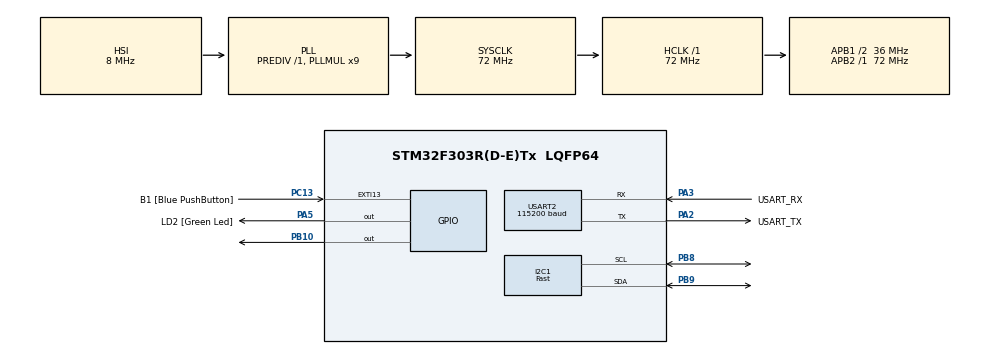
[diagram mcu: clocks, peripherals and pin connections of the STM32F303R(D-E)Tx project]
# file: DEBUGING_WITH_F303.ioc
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Dma.Request0=USART2_RX
Dma.Request1=USART2_TX
Dma.USART2_RX.0.Direction=DMA_PERIPH_TO_MEMORY
Dma.USART2_RX.0.Instance=DMA1_Channel6
Dma.USART2_RX.0.MemDataAlignment=DMA_MDATAALIGN_BYTE
Dma.USART2_RX.0.MemInc=DMA_MINC_ENABLE
Dma.USART2_RX.0.Mode=DMA_NORMAL
Dma.USART2_RX.0.PeriphDataAlignment=DMA_PDATAALIGN_BYTE
Dma.USART2_RX.0.PeriphInc=DMA_PINC_DISABLE
Dma.USART2_RX.0.Priority=DMA_PRIORITY_LOW
Dma.USART2_TX.1.Direction=DMA_MEMORY_TO_PERIPH
Dma.USART2_TX.1.Instance=DMA1_Channel7
Dma.USART2_TX.1.MemDataAlignment=DMA_MDATAALIGN_BYTE
Dma.USART2_TX.1.MemInc=DMA_MINC_ENABLE
Dma.USART2_TX.1.Mode=DMA_NORMAL
Dma.USART2_TX.1.PeriphDataAlignment=DMA_PDATAALIGN_BYTE
Dma.USART2_TX.1.PeriphInc=DMA_PINC_DISABLE
Dma.USART2_TX.1.Priority=DMA_PRIORITY_MEDIUM
I2C1.I2C_Speed_Mode=I2C_Fast
I2C1.Timing=0x0010020A
Mcu.Family=STM32F3
Mcu.Name=STM32F303R(D-E)Tx
Mcu.Package=LQFP64
NVIC.DMA1_Channel6_IRQn=true\:0\:0\:false\:false\:true\:false\:true\:true
NVIC.DMA1_Channel7_IRQn=true\:0\:0\:false\:false\:true\:false\:true\:true
NVIC.PriorityGroup=NVIC_PRIORITYGROUP_0
NVIC.USART2_IRQn=true\:0\:0\:false\:false\:true\:true\:true\:true
PA13.GPIO_Label=TMS
PA13.Mode=Serial_Wire
PA13.Signal=SYS_JTMS-SWDIO
PA14.GPIO_Label=TCK
PA14.Mode=Serial_Wire
PA14.Signal=SYS_JTCK-SWCLK
PA2.GPIO_Label=USART_TX
PA2.GPIO_Mode=GPIO_MODE_AF_PP
PA2.GPIO_PuPd=GPIO_NOPULL
PA2.GPIO_Speed=GPIO_SPEED_FREQ_LOW
PA2.Mode=Asynchronous
PA2.Signal=USART2_TX
PA3.GPIO_Label=USART_RX
PA3.GPIO_Mode=GPIO_MODE_AF_PP
PA3.GPIO_PuPd=GPIO_NOPULL
PA3.GPIO_Speed=GPIO_SPEED_FREQ_LOW
PA3.Mode=Asynchronous
PA3.Signal=USART2_RX
PA5.GPIO_Label=LD2 [Green Led]
PA5.GPIO_Mode=GPIO_MODE_OUTPUT_PP
PA5.GPIO_PuPd=GPIO_NOPULL
PA5.GPIO_Speed=GPIO_SPEED_FREQ_LOW
PA5.Signal=GPIO_Output
PB10.Signal=GPIO_Output
PB3.Signal=SYS_JTDO-TRACESWO
PB8.Mode=I2C
PB8.Signal=I2C1_SCL
PB9.Mode=I2C
PB9.Signal=I2C1_SDA
PC13.GPIO_Label=B1 [Blue PushButton]
PC13.GPIO_ModeDefaultEXTI=GPIO_MODE_IT_FALLING
PC13.Signal=GPXTI13
PC14-OSC32_IN.Mode=LSE-External-Oscillator
PC14-OSC32_IN.Signal=RCC_OSC32_IN
PC15-OSC32_OUT.Mode=LSE-External-Oscillator
PC15-OSC32_OUT.Signal=RCC_OSC32_OUT
PF0-OSC_IN.Mode=HSE-External-Clock-Source
PF0-OSC_IN.Signal=RCC_OSC_IN
PF1-OSC_OUT.Signal=RCC_OSC_OUT
ProjectManager.HeapSize=0x200
ProjectManager.StackSize=0x400
ProjectManager.TargetToolchain=CMake
RCC.AHBFreq_Value=72000000
RCC.APB1CLKDivider=RCC_HCLK_DIV2
RCC.APB1Freq_Value=36000000
RCC.APB1TimFreq_Value=72000000
RCC.APB2Freq_Value=72000000
RCC.APB2TimFreq_Value=72000000
RCC.CortexFreq_Value=72000000
RCC.HCLKFreq_Value=72000000
RCC.HSE_VALUE=8000000
RCC.HSI_VALUE=8000000
RCC.PLLM=8
RCC.PLLMUL=RCC_PLL_MUL9
RCC.PLLN=336
RCC.PLLP=RCC_PLLP_DIV4
RCC.PLLQ=7
RCC.RCC_PLLsource_Clock_Source_FROM_HSE=RCC_HSE_PREDIV_DIV2
RCC.SYSCLKFreq_VALUE=72000000
RCC.SYSCLKSourceVirtual=RCC_SYSCLKSOURCE_PLLCLK
RCC.USBFreq_Value=72000000
USART2.BaudRate=115200
USART2.VirtualMode-Asynchronous=VM_ASYNC
board=NUCLEO-F303RE

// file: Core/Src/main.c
/* USER CODE BEGIN Header */
/**
 ******************************************************************************
 * @file           : main.c
 * @brief          : Main program body
 ******************************************************************************
 * @attention
 *
 * Copyright (c) 2024 STMicroelectronics.
 * All rights reserved.
 *
 * This software is licensed under terms that can be found in the LICENSE file
 * in the root directory of this software component.
 * If no LICENSE file comes with this software, it is provided AS-IS.
 *
 ******************************************************************************
 */
/* USER CODE END Header */
#include "main.h"
#include "dma.h"
#include "i2c.h"
#include "usart.h"
#include "gpio.h"

/* USER CODE BEGIN Includes */
#include "cli.h"
#include "aht20.h"
#include "ens160.h"
/* USER CODE END Includes */

/* USER CODE BEGIN PV */

float temp = 0;
float humidity = 0;
ENS160_DeviceType ENS160_Device;

uint32_t ens_tick_delay = 5000;
uint32_t aht_tick_delay = 300;

/* USER CODE END PV */

void SystemClock_Config(void);

int main(void)
{

  /* USER CODE BEGIN 1 */

#ifndef USE_PRECALCULATED_HASH

#endif
  /* USER CODE END 1 */

  /* MCU Configuration--------------------------------------------------------*/

  /* Reset of all peripherals, Initializes the Flash interface and the Systick. */
  HAL_Init();

  /* Configure the system clock */
  SystemClock_Config();

  /* Initialize all configured peripherals */
  MX_GPIO_Init();
  MX_DMA_Init();
  MX_USART2_UART_Init();
  MX_I2C1_Init();
  /* USER CODE BEGIN 2 */

    start_rx();

    AHT20_Init();
    HAL_Delay(150);
    AHT20_StartMeasurement();
    HAL_Delay(150);
    AHT20_ParseData(&temp,&humidity);
    ENS160_Init(&hi2c1, &ENS160_Device);
    ENS160_UpdateEnvironment(&ENS160_Device,&temp, &humidity);
    ENS160_ChangeMode(&ENS160_Device,ENS160_OPMODE_STANDARD);
    HAL_Delay(5000);
    ENS160_ReadData(&ENS160_Device);
  /* USER CODE END 2 */

  /* Infinite loop */
  /* USER CODE BEGIN WHILE */

    uint32_t current_tick = HAL_GetTick();
    uint32_t ens_start_tick = current_tick;
    uint8_t aht_start_tick = current_tick;
    uint8_t aht_measuring = 0;

    while (1)
    {
      current_tick = HAL_GetTick();
      if (current_tick - ens_start_tick >= ens_tick_delay)
      {
        ens_start_tick = current_tick;
        ENS160_ReadData(&ENS160_Device);
        /* code */
      }
      if (current_tick - aht_start_tick >= aht_tick_delay)
      {
        if (aht_measuring > 0)
        {
          AHT20_StartMeasurement();
          aht_measuring = 0;
        }
        else
        {
          AHT20_ParseData(&temp,&humidity);
          aht_measuring = 1;
        }

        aht_start_tick = current_tick;
        /* code */
      }

    /* USER CODE END WHILE */

    }
}

void SystemClock_Config(void)
{
  RCC_OscInitTypeDef RCC_OscInitStruct = {0};
  RCC_ClkInitTypeDef RCC_ClkInitStruct = {0};
  RCC_PeriphCLKInitTypeDef PeriphClkInit = {0};

  /** Initializes the RCC Oscillators according to the specified parameters
  * in the RCC_OscInitTypeDef structure.
  */
  RCC_OscInitStruct.OscillatorType = RCC_OSCILLATORTYPE_HSI;
  RCC_OscInitStruct.HSIState = RCC_HSI_ON;
  RCC_OscInitStruct.HSICalibrationValue = RCC_HSICALIBRATION_DEFAULT;
  RCC_OscInitStruct.PLL.PLLState = RCC_PLL_ON;
  RCC_OscInitStruct.PLL.PLLSource = RCC_PLLSOURCE_HSI;
  RCC_OscInitStruct.PLL.PLLMUL = RCC_PLL_MUL9;
  RCC_OscInitStruct.PLL.PREDIV = RCC_PREDIV_DIV1;
  if (HAL_RCC_OscConfig(&RCC_OscInitStruct) != HAL_OK)
  {
    Error_Handler();
  }

  /** Initializes the CPU, AHB and APB buses clocks
  */
  RCC_ClkInitStruct.ClockType = RCC_CLOCKTYPE_HCLK|RCC_CLOCKTYPE_SYSCLK
                              |RCC_CLOCKTYPE_PCLK1|RCC_CLOCKTYPE_PCLK2;
  RCC_ClkInitStruct.SYSCLKSource = RCC_SYSCLKSOURCE_PLLCLK;
  RCC_ClkInitStruct.AHBCLKDivider = RCC_SYSCLK_DIV1;
  RCC_ClkInitStruct.APB1CLKDivider = RCC_HCLK_DIV2;
  RCC_ClkInitStruct.APB2CLKDivider = RCC_HCLK_DIV1;

  if (HAL_RCC_ClockConfig(&RCC_ClkInitStruct, FLASH_LATENCY_2) != HAL_OK)
  {
    Error_Handler();
  }
  PeriphClkInit.PeriphClockSelection = RCC_PERIPHCLK_USART2|RCC_PERIPHCLK_I2C1;
  PeriphClkInit.Usart2ClockSelection = RCC_USART2CLKSOURCE_PCLK1;
  PeriphClkInit.I2c1ClockSelection = RCC_I2C1CLKSOURCE_HSI;
  if (HAL_RCCEx_PeriphCLKConfig(&PeriphClkInit) != HAL_OK)
  {
    Error_Handler();
  }
}

/* USER CODE BEGIN 4 */

void HAL_UART_RxCpltCallback(UART_HandleTypeDef *huart)
{
    // Check if the IDLE flag is set
    if (huart->Instance == USART2)
    {
        process_command(); // Your callback function to handle the idle state
    }
}

/* USER CODE END 4 */

void Error_Handler(void)
{
    __disable_irq();
    while (1)
    {
    }
}
